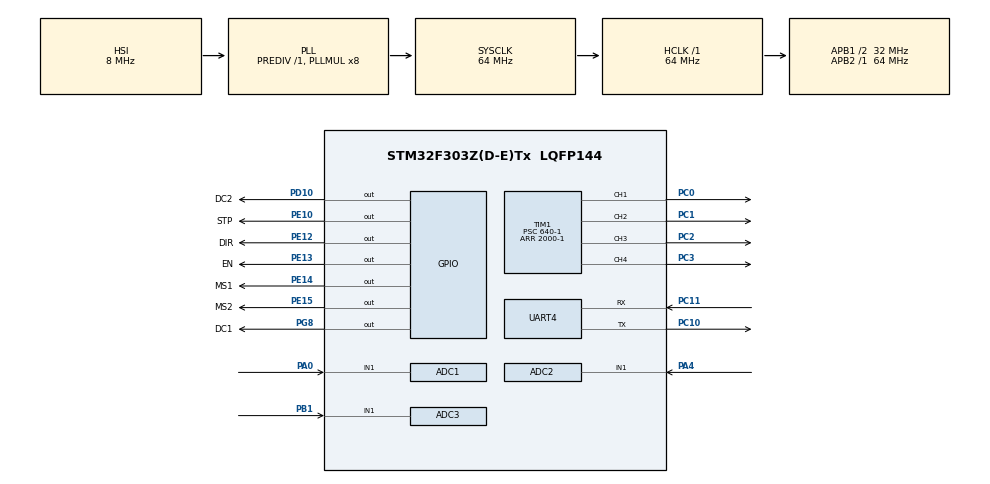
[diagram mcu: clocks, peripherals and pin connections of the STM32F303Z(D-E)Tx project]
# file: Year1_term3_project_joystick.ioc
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ADC1.Channel-0\#ChannelRegularConversion=ADC_CHANNEL_1
ADC1.NbrOfConversionFlag=1
ADC1.Offset-0\#ChannelRegularConversion=0
ADC1.OffsetNumber-0\#ChannelRegularConversion=ADC_OFFSET_NONE
ADC1.Rank-0\#ChannelRegularConversion=1
ADC1.SamplingTime-0\#ChannelRegularConversion=ADC_SAMPLETIME_1CYCLE_5
ADC1.SamplingTimeOPAMP-0\#ChannelRegularConversion=ADC_SAMPLETIME_61CYCLES_5
ADC1.master=1
ADC2.Channel-0\#ChannelRegularConversion=ADC_CHANNEL_1
ADC2.NbrOfConversionFlag=1
ADC2.Offset-0\#ChannelRegularConversion=0
ADC2.OffsetNumber-0\#ChannelRegularConversion=ADC_OFFSET_NONE
ADC2.Rank-0\#ChannelRegularConversion=1
ADC2.SamplingTime-0\#ChannelRegularConversion=ADC_SAMPLETIME_1CYCLE_5
ADC2.SamplingTimeOPAMP-0\#ChannelRegularConversion=ADC_SAMPLETIME_61CYCLES_5
ADC3.Channel-0\#ChannelRegularConversion=ADC_CHANNEL_1
ADC3.NbrOfConversionFlag=1
ADC3.Offset-0\#ChannelRegularConversion=0
ADC3.OffsetNumber-0\#ChannelRegularConversion=ADC_OFFSET_NONE
ADC3.Rank-0\#ChannelRegularConversion=1
ADC3.SamplingTime-0\#ChannelRegularConversion=ADC_SAMPLETIME_1CYCLE_5
ADC3.SamplingTimeOPAMP-0\#ChannelRegularConversion=ADC_SAMPLETIME_61CYCLES_5
ADC3.master=1
Mcu.Family=STM32F3
Mcu.Name=STM32F303Z(D-E)Tx
Mcu.Package=LQFP144
NVIC.PriorityGroup=NVIC_PRIORITYGROUP_4
PA0.Mode=IN1-Single-Ended
PA0.Signal=ADC1_IN1
PA13.Mode=Serial_Wire
PA13.Signal=SYS_JTMS-SWDIO
PA14.Mode=Serial_Wire
PA14.Signal=SYS_JTCK-SWCLK
PA4.Mode=IN1-Single-Ended
PA4.Signal=ADC2_IN1
PB1.Mode=IN1-Single-Ended
PB1.Signal=ADC3_IN1
PC0.Signal=S_TIM1_CH1
PC1.Signal=S_TIM1_CH2
PC10.Mode=Asynchronous
PC10.Signal=UART4_TX
PC11.Mode=Asynchronous
PC11.Signal=UART4_RX
PC2.Signal=S_TIM1_CH3
PC3.Signal=S_TIM1_CH4
PD10.GPIO_Label=DC2
PD10.Signal=GPIO_Output
PE10.GPIO_Label=STP
PE10.Signal=GPIO_Output
PE12.GPIO_Label=DIR
PE12.Signal=GPIO_Output
PE13.GPIO_Label=EN
PE13.Signal=GPIO_Output
PE14.GPIO_Label=MS1
PE14.Signal=GPIO_Output
PE15.GPIO_Label=MS2
PE15.Signal=GPIO_Output
PG8.GPIO_Label=DC1
PG8.Signal=GPIO_Output
ProjectManager.HeapSize=0x200
ProjectManager.StackSize=0x400
ProjectManager.TargetToolchain=MDK-ARM V5.32
RCC.AHBFreq_Value=64000000
RCC.APB1CLKDivider=RCC_HCLK_DIV2
RCC.APB1Freq_Value=32000000
RCC.APB1TimFreq_Value=64000000
RCC.APB2Freq_Value=64000000
RCC.APB2TimFreq_Value=64000000
RCC.CortexFreq_Value=64000000
RCC.HCLKFreq_Value=64000000
RCC.HSE_VALUE=8000000
RCC.HSI_VALUE=8000000
RCC.LSE_VALUE=32768
RCC.PLLMUL=RCC_PLL_MUL8
RCC.SYSCLKFreq_VALUE=64000000
RCC.SYSCLKSourceVirtual=RCC_SYSCLKSOURCE_PLLCLK
RCC.USBFreq_Value=64000000
SH.S_TIM1_CH1.0=TIM1_CH1,PWM Generation1 CH1
SH.S_TIM1_CH2.0=TIM1_CH2,PWM Generation2 CH2
SH.S_TIM1_CH3.0=TIM1_CH3,PWM Generation3 CH3
SH.S_TIM1_CH4.0=TIM1_CH4,PWM Generation4 CH4
TIM1.AutoReloadPreload=TIM_AUTORELOAD_PRELOAD_ENABLE
TIM1.Channel-PWM\ Generation1\ CH1=TIM_CHANNEL_1
TIM1.Channel-PWM\ Generation2\ CH2=TIM_CHANNEL_2
TIM1.Channel-PWM\ Generation3\ CH3=TIM_CHANNEL_3
TIM1.Channel-PWM\ Generation4\ CH4=TIM_CHANNEL_4
TIM1.Period=2000-1
TIM1.Prescaler=640-1
VP_TIM1_VS_ClockSourceINT.Mode=Internal
board=custom

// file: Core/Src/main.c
/* USER CODE BEGIN Header */
/**
  ******************************************************************************
  * @file           : main.c
  * @brief          : Main program body
  ******************************************************************************
  * @attention
  *
  * Copyright (c) 2024 STMicroelectronics.
  * All rights reserved.
  *
  * This software is licensed under terms that can be found in the LICENSE file
  * in the root directory of this software component.
  * If no LICENSE file comes with this software, it is provided AS-IS.
  *
  ******************************************************************************
  */
/* USER CODE END Header */
#include "main.h"
#include "adc.h"
#include "tim.h"
#include "usart.h"
#include "gpio.h"

/* USER CODE BEGIN Includes */
#include <stdlib.h>
#include <string.h>

/* USER CODE END Includes */

/* USER CODE BEGIN PV */

uint16_t ADC_Value;
uint16_t ADC1_Value, ADC2_Value, ADC3_Value;
uint16_t count, x;
char message[100];

/* USER CODE END PV */

void SystemClock_Config(void);
/* USER CODE BEGIN PFP */

void Stepper_Forward(uint16_t n);
void Stepper_Backward(uint16_t n);
void Servo_Forward(uint16_t C,uint16_t T);
void Servo_Backward(uint16_t C,uint16_t T);
uint16_t ADC_Read(uint16_t C);

void Trans( uint16_t ADC1_Value, uint16_t ADC2_Value, uint16_t ADC3_Value);

void Bottom_Open(uint16_t T);
void Bottom_Close(uint16_t T);

void Top_Open(uint16_t T);
void Top_Close(uint16_t T);

void Screw_Up(uint16_t T);
void Screw_Down(uint16_t T);

void Robot_Up_Step(uint16_t S);
void Joystick_Contorl(void);

/* USER CODE END PFP */

int main(void)
{

  /* MCU Configuration--------------------------------------------------------*/

  /* Reset of all peripherals, Initializes the Flash interface and the Systick. */
  HAL_Init();

  /* Configure the system clock */
  SystemClock_Config();

  /* Initialize all configured peripherals */
  MX_GPIO_Init();
  MX_ADC1_Init();
  MX_ADC2_Init();
  MX_ADC3_Init();
  MX_TIM1_Init();
  MX_UART4_Init();
  /* USER CODE BEGIN 2 */
  HAL_TIM_PWM_Start(&htim1, TIM_CHANNEL_1);
  HAL_TIM_PWM_Start(&htim1, TIM_CHANNEL_2);
  HAL_TIM_PWM_Start(&htim1, TIM_CHANNEL_3);

  HAL_TIM_PWM_Start(&htim1, TIM_CHANNEL_4);

  HAL_ADC_Start(&hadc1);
  HAL_ADC_Start(&hadc2);
  HAL_ADC_Start(&hadc3);

  HAL_GPIO_WritePin(GPIOE, EN_Pin, GPIO_PIN_RESET);

  /* USER CODE END 2 */

  /* Infinite loop */
  /* USER CODE BEGIN WHILE */

  // init

 Bottom_Open(300);
 Top_Open(300);

 HAL_Delay(5000);

 // Ask The Gripper Close
 __HAL_TIM_SET_COMPARE(&htim1,TIM_CHANNEL_2, 170);
 __HAL_TIM_SET_COMPARE(&htim1,TIM_CHANNEL_3, 130);

 // init over

 Robot_Up_Step(51);

   /* USER CODE END WHILE */

    /* USER CODE BEGIN 3 */
//  }
  /* USER CODE END 3 */
}

void SystemClock_Config(void)
{
  RCC_OscInitTypeDef RCC_OscInitStruct = {0};
  RCC_ClkInitTypeDef RCC_ClkInitStruct = {0};
  RCC_PeriphCLKInitTypeDef PeriphClkInit = {0};

  /** Initializes the RCC Oscillators according to the specified parameters
  * in the RCC_OscInitTypeDef structure.
  */
  RCC_OscInitStruct.OscillatorType = RCC_OSCILLATORTYPE_HSI;
  RCC_OscInitStruct.HSIState = RCC_HSI_ON;
  RCC_OscInitStruct.HSICalibrationValue = RCC_HSICALIBRATION_DEFAULT;
  RCC_OscInitStruct.PLL.PLLState = RCC_PLL_ON;
  RCC_OscInitStruct.PLL.PLLSource = RCC_PLLSOURCE_HSI;
  RCC_OscInitStruct.PLL.PLLMUL = RCC_PLL_MUL8;
  RCC_OscInitStruct.PLL.PREDIV = RCC_PREDIV_DIV1;
  if (HAL_RCC_OscConfig(&RCC_OscInitStruct) != HAL_OK)
  {
    Error_Handler();
  }

  /** Initializes the CPU, AHB and APB buses clocks
  */
  RCC_ClkInitStruct.ClockType = RCC_CLOCKTYPE_HCLK|RCC_CLOCKTYPE_SYSCLK
                              |RCC_CLOCKTYPE_PCLK1|RCC_CLOCKTYPE_PCLK2;
  RCC_ClkInitStruct.SYSCLKSource = RCC_SYSCLKSOURCE_PLLCLK;
  RCC_ClkInitStruct.AHBCLKDivider = RCC_SYSCLK_DIV1;
  RCC_ClkInitStruct.APB1CLKDivider = RCC_HCLK_DIV2;
  RCC_ClkInitStruct.APB2CLKDivider = RCC_HCLK_DIV1;

  if (HAL_RCC_ClockConfig(&RCC_ClkInitStruct, FLASH_LATENCY_2) != HAL_OK)
  {
    Error_Handler();
  }
  PeriphClkInit.PeriphClockSelection = RCC_PERIPHCLK_UART4|RCC_PERIPHCLK_TIM1
                              |RCC_PERIPHCLK_ADC12|RCC_PERIPHCLK_ADC34;
  PeriphClkInit.Uart4ClockSelection = RCC_UART4CLKSOURCE_PCLK1;
  PeriphClkInit.Adc12ClockSelection = RCC_ADC12PLLCLK_DIV1;
  PeriphClkInit.Adc34ClockSelection = RCC_ADC34PLLCLK_DIV1;
  PeriphClkInit.Tim1ClockSelection = RCC_TIM1CLK_HCLK;
  if (HAL_RCCEx_PeriphCLKConfig(&PeriphClkInit) != HAL_OK)
  {
    Error_Handler();
  }
}

/* USER CODE BEGIN 4 */

/**
  * @brief  This function is for stepper forward
  * @param  $ n $ the number of loop #uint16_t
  * @retval None
  */

void Stepper_Forward(uint16_t n)
{
	   HAL_GPIO_WritePin(GPIOA, DIR_Pin,GPIO_PIN_RESET);
	   HAL_Delay(1);

		for(count = 0; count < n; count++){
			HAL_GPIO_WritePin(GPIOA, STP_Pin, GPIO_PIN_SET);
			HAL_Delay(1);
			HAL_GPIO_WritePin(GPIOA, STP_Pin, GPIO_PIN_RESET);
			HAL_Delay(1);
		}
}

/**
  * @brief  This function is for stepper backword
  * @param  $ n $ is the number of loop #uint16_t
  * @retval None
  */

void Stepper_Backward(uint16_t n)
{
	   HAL_GPIO_WritePin(GPIOA, DIR_Pin,GPIO_PIN_SET);
	   HAL_Delay(1);

		for(count = 0; count < n; count++){
			HAL_GPIO_WritePin(GPIOA, STP_Pin, GPIO_PIN_SET);
			HAL_Delay(1);
			HAL_GPIO_WritePin(GPIOA, STP_Pin, GPIO_PIN_RESET);
			HAL_Delay(1);
		}
}

/**
  * @brief  This function is for messaage sending
  * @param  $ C $ the channel of tim1 && $ T $ is the time for delay #uint16_t
  * @retval None
  */

void Trans( uint16_t ADC1_Value, uint16_t ADC2_Value, uint16_t ADC3_Value)
{
	snprintf(message, sizeof(message), "ADC_1 is: %d, ADC_2 is: %d, ADC_3 is: %d\n", ADC1_Value, ADC2_Value, ADC3_Value);
	HAL_UART_Transmit(&huart4,(uint8_t*)message, strlen(message), HAL_MAX_DELAY);
}

/**
  * @brief  This function is for bottom gripper opening
  * @param  $ T $ is the time for servo rotating #uint16_t
  * @retval None
  */

void Bottom_Open(uint16_t T)
{
	__HAL_TIM_SET_COMPARE(&htim1,TIM_CHANNEL_2, 130);
	HAL_Delay(T);
	__HAL_TIM_SET_COMPARE(&htim1,TIM_CHANNEL_2, 0);
}

/**
  * @brief  This function is for bottom gripper closing
  * @param  $ T $ is the time for servo rotating #uint16_t
  * @retval None
  */
void Bottom_Close(uint16_t T)
{
	__HAL_TIM_SET_COMPARE(&htim1,TIM_CHANNEL_2, 170);
	HAL_Delay(T);
	__HAL_TIM_SET_COMPARE(&htim1,TIM_CHANNEL_2, 0);
}

/**
  * @brief  This function is for top gripper opening
  * @param  $ T $ is the time for servo rotating #uint16_t
  * @retval None
  */
void Top_Open(uint16_t T)
{
	__HAL_TIM_SET_COMPARE(&htim1,TIM_CHANNEL_3, 170);
	HAL_Delay(T);
	__HAL_TIM_SET_COMPARE(&htim1,TIM_CHANNEL_3, 0);
}

/**
  * @brief  This function is for top gripper closing
  * @param  $ T $ is the time for servo rotating #uint16_t
  * @retval None
  */
void Top_Close(uint16_t T)
{
	__HAL_TIM_SET_COMPARE(&htim1,TIM_CHANNEL_3, 130);
	HAL_Delay(T);
	__HAL_TIM_SET_COMPARE(&htim1,TIM_CHANNEL_3, 0);
}

/**
  * @brief  This function is for screw rotating, bottom upward
  * @param  $ T $ is the time for servo rotating #uint16_t
  * @retval None
  */
void Screw_Up(uint16_t T)
{
	__HAL_TIM_SET_COMPARE(&htim1,TIM_CHANNEL_4, 170);
	HAL_Delay(T);
	__HAL_TIM_SET_COMPARE(&htim1,TIM_CHANNEL_4, 0);
}

/**
  * @brief  This function is for screw rotating, bottom downward
  * @param  $ T $ is the time for servo rotating #uint16_t
  * @retval None
  */
void Screw_Down(uint16_t T)
{
	__HAL_TIM_SET_COMPARE(&htim1,TIM_CHANNEL_4, 130);
	HAL_Delay(T);
	__HAL_TIM_SET_COMPARE(&htim1,TIM_CHANNEL_4, 0);
}

/**
  * @brief  This function is for robot moving upward
  * @param  $ S $ is the step upward
  * @retval None
  */
void Robot_Up_Step(uint16_t S)
{
	for(int i =0; i < S; i++){

		 HAL_Delay(5000);

		 Top_Open(300);

		 HAL_Delay(2000);

		 Screw_Down(35000);

		 //top step over

		 __HAL_TIM_SET_COMPARE(&htim1,TIM_CHANNEL_2, 170);
		 __HAL_TIM_SET_COMPARE(&htim1,TIM_CHANNEL_3, 130);

		  HAL_Delay(3000);

		 Bottom_Open(300);

		 Screw_Up(35000);

		 __HAL_TIM_SET_COMPARE(&htim1,TIM_CHANNEL_2, 170);
		 __HAL_TIM_SET_COMPARE(&htim1,TIM_CHANNEL_3, 130);

	}
}

/**
  * @brief  This function is for read value from joystick
  * @param  $ C $ the channel of ADC #uint16_t
  * @retval $ ADC_Value $ the read value of ADC #uint16_t
  */

uint16_t ADC_Read(uint16_t C)
{
	if(C == 1)
	{
		HAL_ADC_Start(&hadc1);
		HAL_ADC_PollForConversion(&hadc1,1000);
		ADC_Value = HAL_ADC_GetValue(&hadc1);

	}else if(C == 2)
	{
		HAL_ADC_Start(&hadc2);
		HAL_ADC_PollForConversion(&hadc2,1000);
		ADC_Value = HAL_ADC_GetValue(&hadc2);

	}else if(C == 3)
	{
		HAL_ADC_Start(&hadc3);
		HAL_ADC_PollForConversion(&hadc3,1000);
		ADC_Value = HAL_ADC_GetValue(&hadc3);
	}

	return ADC_Value;
}

/**
  * @brief  This function is for joystick control
  * @param  None
  * @retval None
  */

void Joystick_Contorl(void)
{

	  ADC1_Value = ADC_Read(1);
	  ADC2_Value = ADC_Read(2);
	  ADC3_Value = ADC_Read(3);

	  Trans(ADC1_Value, ADC2_Value, ADC3_Value);

	  if(ADC1_Value > 3800){
		  __HAL_TIM_SET_COMPARE(&htim1,TIM_CHANNEL_3, 130);
	  }else if(ADC1_Value<1000){
		  __HAL_TIM_SET_COMPARE(&htim1,TIM_CHANNEL_3, 170);
	  }else{
		  __HAL_TIM_SET_COMPARE(&htim1,TIM_CHANNEL_3, 0);

	  }

	  if(ADC2_Value > 3800){
	  		  __HAL_TIM_SET_COMPARE(&htim1,TIM_CHANNEL_2, 130);
	  	  }else if(ADC2_Value<1000){
	  		  __HAL_TIM_SET_COMPARE(&htim1,TIM_CHANNEL_2, 170);
	  	  }else{
	  		  __HAL_TIM_SET_COMPARE(&htim1,TIM_CHANNEL_2, 0);

	  }

	  if(ADC3_Value > 3500){
		  __HAL_TIM_SET_COMPARE(&htim1,TIM_CHANNEL_4, 130);

	  }else if(ADC3_Value<1000){
		  __HAL_TIM_SET_COMPARE(&htim1,TIM_CHANNEL_4, 170);
	  }else{
		   __HAL_TIM_SET_COMPARE(&htim1,TIM_CHANNEL_4, 0);

	  }
}

/* USER CODE END 4 */

void Error_Handler(void)
{
  __disable_irq();
  while (1)
  {
  }
}
